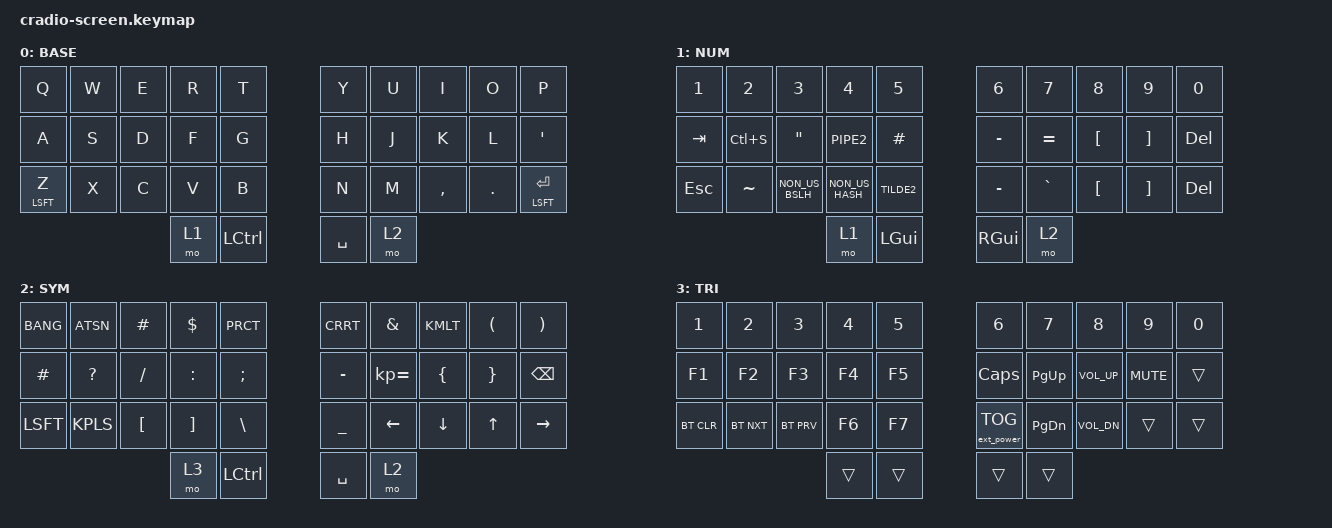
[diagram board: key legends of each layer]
/*
 * Copyright (c) 2020 The ZMK Contributors
 *
 * SPDX-License-Identifier: MIT
 */


#include <behaviors.dtsi>
#include <dt-bindings/zmk/keys.h>
#include <dt-bindings/zmk/bt.h>
#include <dt-bindings/zmk/ext_power.h>


#define DEFAULT 0
#define LOWER   1
#define RAISE   2
#define TRI     3

/ { 

    combos {
        compatible = "zmk,combos";
        combo_esc {
            timeout-ms = <50>;
            key-positions = <0 1>;
            bindings = <&kp ESC> ;
        };
      
  combo_tab {
            timeout-ms = <50>;
            key-positions = <10 11>;
            bindings = <&kp TAB>;
        };
        
                  combo_lalt {
            timeout-ms = <50>;
            key-positions = <13 14>;
            bindings = <&kp LALT>;
        };
         combo_lgui {
            timeout-ms = <50>;
            key-positions = <11 12 >;
            bindings = <&kp LGUI>;
        };

                      combo_ralt {
            timeout-ms = <50>;
            key-positions = <15 16>;
            bindings = <&kp RALT>;
        };
           combo_rgui {
            timeout-ms = <50>;
            key-positions = <17 18>;
            bindings = <&kp RGUI>;
        };
        
             combo_del {
            timeout-ms = <50>;
            key-positions = <8 9>;
            bindings = <&kp BKSP>;
        };
        
 //numbers
 
          combo_1 {
            timeout-ms = <50>;
            key-positions = <0 10>;
            bindings = <&kp NUM_1>;
        };
        
                  combo_2 {
            timeout-ms = <50>;
            key-positions = <1 11>;
            bindings = <&kp NUM_2>;
        };
        
                  combo_3 {
            timeout-ms = <50>;
            key-positions = <2 12>;
            bindings = <&kp NUM_3>;
        };
        
                  combo_4 {
            timeout-ms = <50>;
            key-positions = <3 13>;
            bindings = <&kp NUM_4>;
        };
        
                  combo_5 {
            timeout-ms = <50>;
            key-positions = <4 14>;
            bindings = <&kp NUM_5>;
        };
                   combo_6 {
            timeout-ms = <50>;
            key-positions = <5 15>;
            bindings = <&kp NUM_6>;
        };
                         combo_7 {
            timeout-ms = <50>;
            key-positions = <6 16>;
            bindings = <&kp NUM_7>;
        };   
        
                       combo_8 {
            timeout-ms = <50>;
            key-positions = <7 17>;
            bindings = <&kp NUM_8>;
        };
        
                               combo_9 {
            timeout-ms = <50>;
            key-positions = <8 18>;
            bindings = <&kp NUM_9>;
        };
        
                               combo_10 {
            timeout-ms = <50>;
            key-positions = <9 19>;
            bindings = <&kp NUM_0>;
        };
        
                                      combo_ps {
            timeout-ms = <50>;
            key-positions = <2 11 13>;
            bindings = <&kp PSCRN>;
        };
        
        
        
        
    };

        keymap {
                compatible = "zmk,keymap";
                
       		default_layer {
       		       					label = "BASE";
		bindings = <
		&kp Q &kp W &kp E &kp R &kp T 						&kp Y &kp U  &kp I    &kp O   &kp P 
		&kp A &kp S &kp D &kp F &kp G 			        	        &kp H &kp J &kp K &kp L &kp QUOT
		&mt LSFT Z &kp X &kp C &kp V &kp B				        &kp N &kp M  &kp CMMA &kp DOT &mt LSFT RET


          				&mo 1 &kp LCTL  				&kp SPC &mo 2 
		>;
		};

       		left_layer {
       		       					label = "NUM";
		bindings = <
		&kp NUM_1  &kp NUM_2    &kp NUM_3    &kp NUM_4    &kp NUM_5		&kp NUM_6 &kp NUM_7 &kp NUM_8 &kp NUM_9 &kp NUM_0 
		&kp TAB    &kp LC(S)    &kp DQT      &kp PIPE2     &kp HASH 		&kp MINUS &kp EQL  &kp LBKT &kp RBKT  &kp DEL 
		&kp ESC    &kp TILDE 	&kp NON_US_BSLH &kp NON_US_HASH  &kp TILDE2 	&kp MINUS &kp GRAVE &kp LBKT &kp RBKT  &kp DEL 
					    &mo 1  &kp LGUI  					&kp RGUI &mo 2 
		>;
		};
		
		right_layer {       		       					label = "SYM";
		bindings = <
		&kp BANG  &kp ATSN &kp HASH  &kp DLLR  &kp PRCT    			&kp CRRT  &kp AMPS &kp KMLT &kp LPRN &kp RPRN 
		&kp HASH  &kp QMARK  &kp FSLH  &kp COLN  &kp SCLN 			&kp MINUS &kp KP_EQUAL  &kp LBRC  &kp RBRC   &kp BKSP
		&kp LSFT  &kp KPLS &kp LBKT &kp RBKT   &kp BSLH    			&kp UNDER &kp LEFT &kp DOWN &kp UP  &kp RIGHT
					  &mo 3 &kp LCTL  				&kp SPC  &mo 2 
		>;
		};	
		
		tri_layer {label = "TRI";
		bindings = <
		&kp NUM_1  &kp NUM_2    &kp NUM_3    &kp NUM_4    &kp NUM_5 			&kp NUM_6  &kp NUM_7 &kp NUM_8 &kp NUM_9 &kp NUM_0 
		&kp F1 &kp F2 &kp F3 &kp F4 &kp F5  						&kp CAPS  &kp PG_UP  &kp K_VOL_UP &kp K_MUTE &trans 
		&bt BT_CLR  &bt BT_NXT &bt BT_PRV &kp F6 &kp F7   				&ext_power EP_TOG &kp PG_DN  &kp K_VOL_DN  &trans &trans   
					 &trans &trans  					&trans &trans 
		>;
		};	
	};
};
